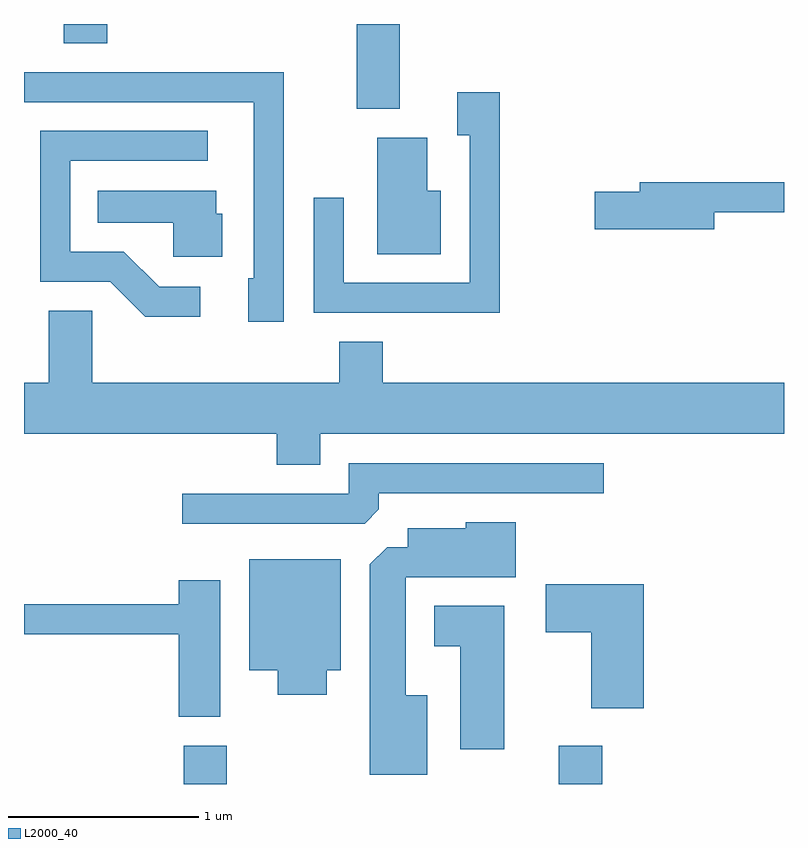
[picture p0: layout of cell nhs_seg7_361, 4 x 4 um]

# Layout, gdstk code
import gdstk
lib = gdstk.Library(unit=1e-6, precision=1e-09)
def R(c, l, rs):  # rectangles x0, y0, x1, y1
    for r in rs: c.add(gdstk.rectangle(r[:2], r[2:], *l))
def P(c, l, *ps):  # polygons
    for p in ps: c.add(gdstk.Polygon(p, *l))
L2000_40 = (2000, 40)

nhs_seg7_361 = lib.new_cell('nhs_seg7_361')
R(nhs_seg7_361, L2000_40, [(196.451,1710.252,196.679,1710.454), (198.426,1710.252,198.654,1710.454), (197.361,1713.806,197.589,1714.252), (195.821,1714.151,196.049,1714.252)])
P(nhs_seg7_361, L2000_40, [(196.979,1713.999),(195.611,1713.999),(195.611,1713.841),(196.821,1713.841),(196.821,1712.914),(196.791,1712.914),(196.791,1712.686),(196.979,1712.686)],
  [(198.114,1713.894),(197.891,1713.894),(197.891,1713.666),(197.956,1713.666),(197.956,1712.889),(197.294,1712.889),(197.294,1713.338),(197.136,1713.338),(197.136,1712.731),(198.114,1712.731)],
  [(196.538,1712.869),(196.322,1712.869),(196.137,1713.054),(195.854,1713.054),(195.854,1713.531),(196.578,1713.531),(196.578,1713.689),(195.696,1713.689),(195.696,1712.896),(196.064,1712.896),(196.249,1712.711),(196.538,1712.711)],
  [(197.804,1713.374),(197.734,1713.374),(197.734,1713.654),(197.471,1713.654),(197.471,1713.041),(197.804,1713.041)],
  [(199.244,1713.261),(199.611,1713.261),(199.611,1713.419),(198.851,1713.419),(198.851,1713.369),(198.616,1713.369),(198.616,1713.171),(199.244,1713.171)],
  [(196.654,1713.254),(196.624,1713.254),(196.624,1713.374),(195.998,1713.374),(195.998,1713.206),(196.396,1713.206),(196.396,1713.026),(196.654,1713.026)],
  [(197.169,1712.096),(199.611,1712.096),(199.611,1712.364),(197.499,1712.364),(197.499,1712.579),(197.271,1712.579),(197.271,1712.364),(195.969,1712.364),(195.969,1712.744),(195.741,1712.744),(195.741,1712.364),(195.611,1712.364),(195.611,1712.096),(196.941,1712.096),(196.941,1711.931),(197.169,1711.931)],
  [(197.479,1711.697),(197.479,1711.781),(198.663,1711.781),(198.663,1711.939),(197.321,1711.939),(197.321,1711.779),(196.443,1711.779),(196.443,1711.621),(197.404,1711.621)],
  [(197.734,1710.719),(197.619,1710.719),(197.619,1711.341),(198.199,1711.341),(198.199,1711.629),(197.936,1711.629),(197.936,1711.599),(197.631,1711.599),(197.631,1711.499),(197.522,1711.499),(197.431,1711.409),(197.431,1710.301),(197.734,1710.301)],
  [(197.204,1710.851),(197.279,1710.851),(197.279,1711.434),(196.796,1711.434),(196.796,1710.851),(196.946,1710.851),(196.946,1710.721),(197.204,1710.721)],
  [(196.644,1711.324),(196.426,1711.324),(196.426,1711.199),(195.611,1711.199),(195.611,1711.041),(196.426,1711.041),(196.426,1710.606),(196.644,1710.606)],
  [(198.874,1711.304),(198.356,1711.304),(198.356,1711.051),(198.596,1711.051),(198.596,1710.651),(198.874,1710.651)],
  [(198.139,1711.189),(197.771,1711.189),(197.771,1710.976),(197.906,1710.976),(197.906,1710.436),(198.139,1710.436)])

lib.write_gds('nhs_seg7_361.gds')
